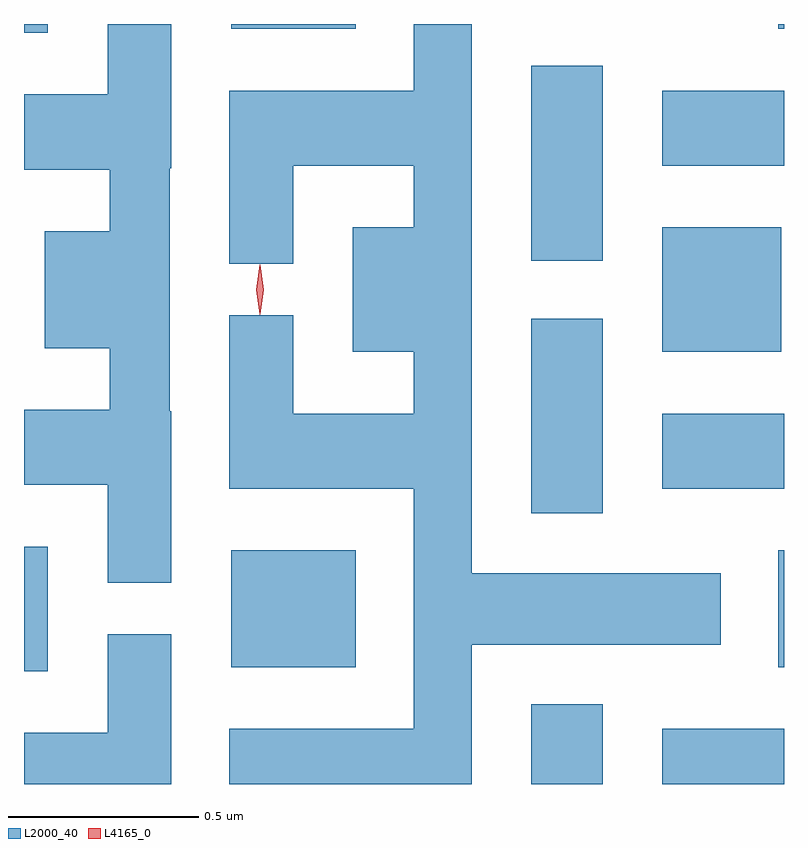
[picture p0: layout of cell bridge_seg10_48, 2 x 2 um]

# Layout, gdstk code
import gdstk
lib = gdstk.Library(unit=1e-6, precision=1e-09)
def R(c, l, rs):  # rectangles x0, y0, x1, y1
    for r in rs: c.add(gdstk.rectangle(r[:2], r[2:], *l))
def P(c, l, *ps):  # polygons
    for p in ps: c.add(gdstk.Polygon(p, *l))
L2000_40 = (2000, 40)
L4165_0 = (4165, 0)

bridge_seg10_48 = lib.new_cell('bridge_seg10_48')
R(bridge_seg10_48, L2000_40, [(1788.376,2171.229,1788.564,2171.439), (1788.721,2171.229,1789.041,2171.374), (1787.041,2171.526,1787.104,2171.854), (1787.586,2171.536,1787.914,2171.844), (1789.026,2171.536,1789.041,2171.844), (1788.376,2171.941,1788.564,2172.454), (1788.721,2172.006,1789.041,2172.204), (1788.721,2172.366,1789.034,2172.694), (1788.376,2172.606,1788.564,2173.119), (1788.721,2172.856,1789.041,2173.054), (1787.041,2173.206,1787.104,2173.229), (1787.586,2173.216,1787.914,2173.229), (1789.026,2173.216,1789.041,2173.229)])
P(bridge_seg10_48, L2000_40, [(1788.219,2171.596),(1788.874,2171.596),(1788.874,2171.784),(1788.219,2171.784),(1788.219,2173.229),(1788.066,2173.229),(1788.066,2173.054),(1787.581,2173.054),(1787.581,2172.598),(1787.749,2172.598),(1787.749,2172.856),(1788.066,2172.856),(1788.066,2172.694),(1787.906,2172.694),(1787.906,2172.366),(1788.066,2172.366),(1788.066,2172.204),(1787.749,2172.204),(1787.749,2172.463),(1787.581,2172.463),(1787.581,2172.006),(1788.066,2172.006),(1788.066,2171.374),(1787.581,2171.374),(1787.581,2171.229),(1788.219,2171.229)],
  [(1787.429,2172.21),(1787.424,2172.21),(1787.424,2172.85),(1787.429,2172.85),(1787.429,2173.229),(1787.261,2173.229),(1787.261,2173.044),(1787.041,2173.044),(1787.041,2172.846),(1787.266,2172.846),(1787.266,2172.684),(1787.096,2172.684),(1787.096,2172.376),(1787.266,2172.376),(1787.266,2172.214),(1787.041,2172.214),(1787.041,2172.016),(1787.261,2172.016),(1787.261,2171.758),(1787.429,2171.758)],
  [(1787.429,2171.623),(1787.261,2171.623),(1787.261,2171.364),(1787.041,2171.364),(1787.041,2171.229),(1787.429,2171.229)])
P(bridge_seg10_48, L4165_0, [(1787.662,2172.464),(1787.662,2172.465),(1787.652,2172.53),(1787.662,2172.595),(1787.662,2172.596),(1787.663,2172.595),(1787.672,2172.53),(1787.663,2172.465)])

lib.write_gds('bridge_seg10_48.gds')
